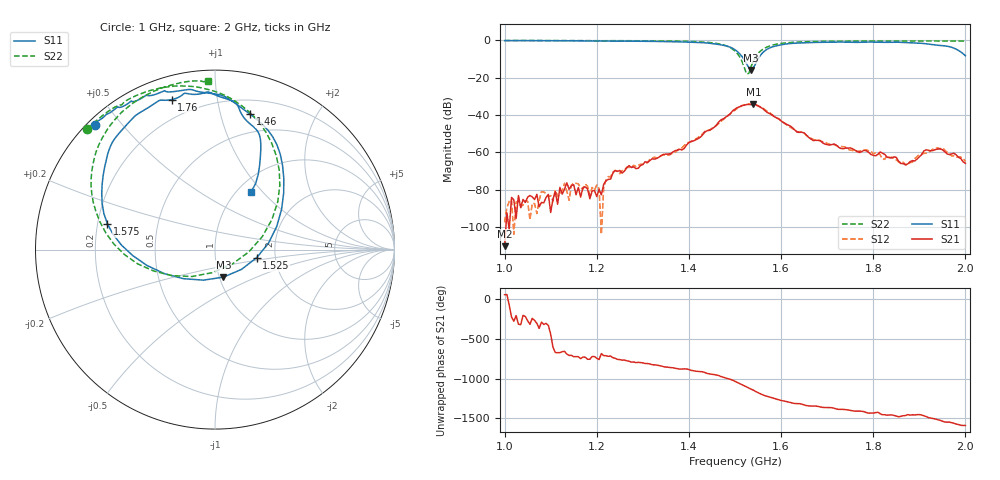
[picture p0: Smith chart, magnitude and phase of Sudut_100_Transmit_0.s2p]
# Hz S RI R 50
! CMT, C1220, 16058040, 17.2.0/1
! Date: 15/08/2018 09:01:40
! Data: Format (Calibration Info)
! Freq  S11: Re/Im (F2)  S21: Re/Im (F2)  S12: Re/Im (F2)  S22: Re/Im (F2)
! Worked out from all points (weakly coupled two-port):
!   201 points, 1 GHz to 2 GHz, reference 50 ohm
!   highest |S21| = -34.30 dB at 1.54 GHz (marker M1); lowest = -110.0 dB at 1 GHz (marker M2)
!   lowest |S11| = -15.9 dB at 1.535 GHz (marker M3), VSWR 1.38, Z = 52.3 - j16.5 ohm
!   |S11| at or under -10 dB: 1.519 GHz to 1.55 GHz (31.45 MHz wide, 2.05 % of centre)
!   |S22| runs from -18.1 to -0.2 dB; largest |S21 - S12| = 0.00095
!   S11 on the Smith chart (normalised r, x): 1 GHz: 0.02, +0.42; 1.46 GHz: 0.32, +1.24; 1.525 GHz: 1.60, -0.15; 1.575 GHz: 0.24, +0.11; 1.76 GHz: 0.11, +0.75; 2 GHz: 1.15, +0.87
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1e9  -0.6711 0.6955  1.66e-06 2.67e-06  -9.18e-06 -1.01e-05  -0.7112 0.6715
1.125e9  -0.5509 0.7885  3.9e-05 6.66e-05  1.91e-05 9.29e-05  -0.6057 0.7624
1.13e9  -0.5458 0.7928  4.46e-05 9.37e-05  0.000108 0.000104  -0.6009 0.766
1.135e9  -0.5429 0.7946  0.000133 7.82e-05  5.82e-05 7.23e-05  -0.5964 0.7693
1.14e9  -0.541 0.7949  0.000101 2.35e-05  4.2e-05 3.21e-05  -0.5919 0.7721
1.15e9  -0.5355 0.7925  0.000137 -7.28e-06  0.000151 1.28e-05  -0.5816 0.779
1.17e9  -0.4997 0.8044  0.000115 -1.46e-05  8.16e-05 -6.54e-05  -0.5593 0.7932
1.21e9  -0.4625 0.8244  5.98e-05 4.36e-05  5.21e-06 -3.97e-06  -0.5183 0.8078
1.24e9  -0.3995 0.849  0.000302 -0.00013  0.000309 -0.000125  -0.4859 0.835
1.335e9  -0.2605 0.8785  -0.000308 -0.000681  -0.000353 -0.000668  -0.327 0.8952
1.46e9  0.1965 0.7543  -0.0032 0.00442  -0.0026 0.00457  0.1516 0.7992
1.5e9  0.3832 0.3988  0.00995 0.0104  0.0093 0.00974  0.3612 0.3582
1.525e9  0.232 -0.0453  0.0175 -0.00741  0.0179 -0.00732  0.0931 -0.0827
1.535e9  0.047 -0.1533  0.0117 -0.015  0.0117 -0.0151  -0.1283 -0.15
1.54e9  -0.064 -0.1702  0.00801 -0.0175  0.00794 -0.0174  -0.2405 -0.145
1.575e9  -0.5991 0.1428  -0.00957 -0.00531  -0.0103 -0.00528  -0.6626 0.2096
1.67e9  -0.4514 0.7388  -0.000199 0.00206  -0.000207 0.00221  -0.5519 0.7308
1.76e9  -0.241 0.8358  0.000989 0.000595  0.000844 0.000617  -0.3905 0.8576
1.835e9  -0.0638 0.8721  0.000693 -0.000219  0.000676 -0.000285  -0.2748 0.9073
1.875e9  0.027 0.8516  0.000481 -0.000113  0.000449 -0.000121  -0.2138 0.9241
1.945e9  0.2108 0.6873  0.000123 -0.00124  0.000109 -0.00125  -0.1087 0.9395
2e9  0.2028 0.3234  -0.000442 -0.00026  -0.000519 -0.00025  -0.0396 0.9416
